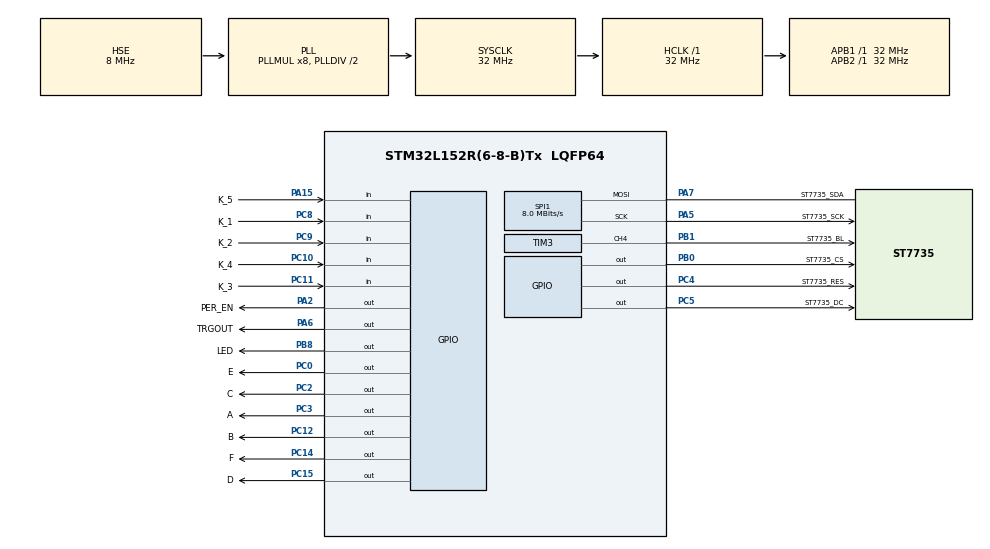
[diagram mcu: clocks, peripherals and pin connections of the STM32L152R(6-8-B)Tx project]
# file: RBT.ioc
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Dma.Request0=SPI1_TX
Dma.SPI1_TX.0.Direction=DMA_MEMORY_TO_PERIPH
Dma.SPI1_TX.0.Instance=DMA1_Channel3
Dma.SPI1_TX.0.MemDataAlignment=DMA_MDATAALIGN_BYTE
Dma.SPI1_TX.0.MemInc=DMA_MINC_ENABLE
Dma.SPI1_TX.0.Mode=DMA_NORMAL
Dma.SPI1_TX.0.PeriphDataAlignment=DMA_PDATAALIGN_BYTE
Dma.SPI1_TX.0.PeriphInc=DMA_PINC_DISABLE
Dma.SPI1_TX.0.Priority=DMA_PRIORITY_LOW
Mcu.Family=STM32L1
Mcu.Name=STM32L152R(6-8-B)Tx
Mcu.Package=LQFP64
NVIC.DMA1_Channel3_IRQn=true\:0\:0\:false\:false\:true\:false\:true
NVIC.PriorityGroup=NVIC_PRIORITYGROUP_4
NVIC.SPI1_IRQn=true\:5\:0\:true\:false\:true\:true\:true
PA13.Mode=Serial_Wire
PA13.Signal=SYS_JTMS-SWDIO
PA14.Mode=Serial_Wire
PA14.Signal=SYS_JTCK-SWCLK
PA15.GPIO_Label=K_5
PA15.GPIO_PuPd=GPIO_PULLUP
PA15.Signal=GPIO_Input
PA2.GPIO_Label=PER_EN
PA2.Signal=GPIO_Output
PA5.GPIO_Label=ST7735_SCK
PA5.Mode=Simplex_Bidirectional_Master
PA5.Signal=SPI1_SCK
PA6.GPIO_Label=TRGOUT
PA6.Signal=GPIO_Output
PA7.GPIO_Label=ST7735_SDA
PA7.Mode=Simplex_Bidirectional_Master
PA7.Signal=SPI1_MOSI
PB0.GPIO_Label=ST7735_CS
PB0.GPIO_Speed=GPIO_SPEED_FREQ_VERY_HIGH
PB0.Signal=GPIO_Output
PB1.GPIO_Label=ST7735_BL
PB1.Signal=S_TIM3_CH4
PB8.GPIO_Label=LED
PB8.Signal=GPIO_Output
PC0.GPIO_Label=E
PC0.Signal=GPIO_Output
PC10.GPIO_Label=K_4
PC10.GPIO_Mode=GPIO_MODE_INPUT
PC10.GPIO_PuPd=GPIO_PULLUP
PC10.Signal=GPIO_Input
PC11.GPIO_Label=K_3
PC11.GPIO_Mode=GPIO_MODE_INPUT
PC11.GPIO_PuPd=GPIO_PULLUP
PC11.Signal=GPIO_Input
PC12.GPIO_Label=B
PC12.Signal=GPIO_Output
PC14-OSC32_IN.GPIO_Label=F
PC14-OSC32_IN.Signal=GPIO_Output
PC15-OSC32_OUT.GPIO_Label=D
PC15-OSC32_OUT.Signal=GPIO_Output
PC2.GPIO_Label=C
PC2.Signal=GPIO_Output
PC3.GPIO_Label=A
PC3.Signal=GPIO_Output
PC4.GPIO_Label=ST7735_RES
PC4.GPIO_Speed=GPIO_SPEED_FREQ_VERY_HIGH
PC4.Signal=GPIO_Output
PC5.GPIO_Label=ST7735_DC
PC5.GPIO_Speed=GPIO_SPEED_FREQ_VERY_HIGH
PC5.Signal=GPIO_Output
PC8.GPIO_Label=K_1
PC8.GPIO_Mode=GPIO_MODE_INPUT
PC8.GPIO_PuPd=GPIO_PULLUP
PC8.Signal=GPIO_Input
PC9.GPIO_Label=K_2
PC9.GPIO_Mode=GPIO_MODE_INPUT
PC9.GPIO_PuPd=GPIO_PULLUP
PC9.Signal=GPIO_Input
PH0-OSC_IN.Mode=HSE-External-Oscillator
PH0-OSC_IN.Signal=RCC_OSC_IN
PH1-OSC_OUT.Mode=HSE-External-Oscillator
PH1-OSC_OUT.Signal=RCC_OSC_OUT
ProjectManager.HeapSize=0x200
ProjectManager.StackSize=0x400
ProjectManager.TargetToolchain=MDK-ARM V5.32
RCC.48MHZClocksFreq_Value=32000000
RCC.AHBFreq_Value=32000000
RCC.APB1Freq_Value=32000000
RCC.APB1TimFreq_Value=32000000
RCC.APB2Freq_Value=32000000
RCC.APB2TimFreq_Value=32000000
RCC.HCLKFreq_Value=32000000
RCC.HSE_VALUE=8000000
RCC.HSI_VALUE=16000000
RCC.LSE_VALUE=32768
RCC.MSI_VALUE=2097000
RCC.PLLMUL=RCC_PLL_MUL8
RCC.PLLSourceVirtual=RCC_PLLSOURCE_HSE
RCC.SYSCLKFreq_VALUE=32000000
RCC.SYSCLKSource=RCC_SYSCLKSOURCE_PLLCLK
RCC.VCOOutputFreq_Value=64000000
SH.S_TIM3_CH4.0=TIM3_CH4,PWM Generation4 CH4
SPI1.BaudRatePrescaler=SPI_BAUDRATEPRESCALER_4
SPI1.CLKPhase=SPI_PHASE_1EDGE
SPI1.CLKPolarity=SPI_POLARITY_LOW
SPI1.CalculateBaudRate=8.0 MBits/s
SPI1.Direction=SPI_DIRECTION_1LINE
SPI1.Mode=SPI_MODE_MASTER
SPI1.VirtualType=VM_MASTER
TIM3.Channel-PWM\ Generation4\ CH4=TIM_CHANNEL_4
TIM3.ClockDivision=TIM_CLOCKDIVISION_DIV4
TIM3.Period=10
TIM3.Prescaler=7999
VP_TIM3_VS_ClockSourceINT.Mode=Internal
board=custom

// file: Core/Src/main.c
/* USER CODE BEGIN Header */
/**
  ******************************************************************************
  * @file           : main.c
  * @brief          : Main program body
  ******************************************************************************
  * @attention
  *
  * Copyright (c) 2022 STMicroelectronics.
  * All rights reserved.
  *
  * This software is licensed under terms that can be found in the LICENSE file
  * in the root directory of this software component.
  * If no LICENSE file comes with this software, it is provided AS-IS.
  *
  ******************************************************************************
  */
/* USER CODE END Header */
#include "main.h"
#include "dma.h"
#include "spi.h"
#include "tim.h"
#include "gpio.h"
#include <stdlib.h>
/* USER CODE BEGIN Includes */
#include "st7735.h"
#include "st7735_test.h"
#include "config.h"
#include "string.h"
#include "stdio.h"
#include "stdbool.h"
#include "ctype.h"
/* USER CODE END Includes */

/* USER CODE BEGIN PTD */
typedef struct _Ball{
    uint8_t x;
    uint8_t y;
    int8_t x_dir;
    int8_t y_dir;
    uint8_t new_x;
    uint8_t new_y;
    uint8_t radius;
}Ball;

typedef struct _Player{
    uint8_t x;
    uint8_t y;
    uint8_t score;
}Player;

/* USER CODE END PTD */

/* USER CODE BEGIN PV */
// ��������� ��� ������ � �����������
Keypad_t keypad;
Ball ball;
Player player;
Player bot;

const uint8_t PADDLE_HEIGHT = 30; //Высота ракетки
const uint8_t MAX_SCORE = 8; // Победное число очков
bool GameIsRunning = true;

/* USER CODE END PV */

void SystemClock_Config(void);

/* USER CODE BEGIN PFP */
int random_int(int low, int high);
void draw_court();
void end_of_game(int);
/* USER CODE END PFP */

int main(void)
{

  /* MCU Configuration--------------------------------------------------------*/

  /* Reset of all peripherals, Initializes the Flash interface and the Systick. */
  HAL_Init();

  /* Configure the system clock */
  SystemClock_Config();

  /* Initialize all configured peripherals */
  MX_GPIO_Init();
  MX_DMA_Init();
  MX_SPI1_Init();
  MX_TIM3_Init();
  /* USER CODE BEGIN 2 */
  //Первичная инициализация структур
    ball.x = 0;
    ball.y = 0;
    ball.new_x = 0;
    ball.new_y = 0;
    ball.x_dir = 0;
    ball.y_dir = 0;
    ball.radius = 3;

    player.score = 0;
    player.x = 10;
    player.y = 64;

    bot.score = 0;
    bot.x = 150;
    bot.y = 64;

    HAL_GPIO_WritePin(PER_EN_GPIO_Port, PER_EN_Pin, GPIO_PIN_SET);

    ST7735_Init(Displ_Orientat_90);
    ST7735_SetBacklight('F');
    ST7735_FillScreen(ST7735_BLACK);

    ball.x = random_int(0,160);
    ball.y = random_int(0,128);
    ball.x_dir = 1;
    ball.y_dir = 1;

    uint8_t half_paddle = PADDLE_HEIGHT >> 1;
    uint8_t cycles = 0;

    bool ResetBall = false;
    bool up = false;
    bool down = false;
    srand(HAL_GetTick());

    HAL_GPIO_WritePin(F_GPIO_Port, F_Pin, GPIO_PIN_RESET);
  /* USER CODE END 2 */

  /* Infinite loop */
  /* USER CODE BEGIN WHILE */
  while (1)
  {
    up = !HAL_GPIO_ReadPin(K_4_GPIO_Port, K_4_Pin);
    down =  !HAL_GPIO_ReadPin(K_5_GPIO_Port, K_5_Pin);

    if(ResetBall){

        ST7735_FillCircle(ball.x, ball.y, ball.radius, ST7735_BLACK);
        ball.x = 80;
        ball.y = 64;

        do{
            ball.x_dir = random_int(-1,2);
        }while(ball.x_dir == 0);
         do{
            ball.y_dir = random_int(-1,2);
        }while(ball.y_dir == 0);

        ResetBall = false;
    }

    if(GameIsRunning){
        cycles++;
        ST7735_DrawWString(10, 10, "Player1: ",  Font12, 1, ST7735_WHITE, ST7735_BLACK);
        ST7735_DrawWChar(70, 10, (char)player.score + '0', Font12, 1, ST7735_WHITE, ST7735_BLACK);
        ST7735_DrawWString(90, 10, "Bot: ",  Font12, 1, ST7735_WHITE, ST7735_BLACK);
        ST7735_DrawWChar(150, 10, (char)bot.score + '0', Font12, 1, ST7735_WHITE, ST7735_BLACK);

        ball.new_x = ball.x + ball.x_dir;
        ball.new_y = ball.y + ball.y_dir;
        //Проверка на столкновение с вертиальной стеной
        if(ball.new_x == 0 ){
            bot.score++;
            if(bot.score == 8)
                end_of_game(1);
            ResetBall = true;
        }
        else if(ball.new_x == 160)
        {
            player.score++;
            if(player.score == 8)
                end_of_game(2);
            ResetBall = true;
        }

        //Проверка на столкновение с горизонтальной стеной
        if(ball.new_y == 0 || ball.new_y == 120){
            ball.y_dir = -ball.y_dir; //Меняем направление
            ball.new_y += 2*ball.y_dir; //Откатываемся назад
        }
        //Проверка на столкновение с ракеткой игрока
        if(ball.new_x == player.x && ball.new_y >= player.y - half_paddle && ball.new_y <= player.y + half_paddle)
        {
            ball.x_dir = -ball.x_dir; //Меняем направление
            ball.new_x += 2*ball.x_dir; //Откатываемся назад
        }
        //Проверка на столкновение с ракеткой бота
        if(ball.new_x == bot.x && ball.new_y >= bot.y - half_paddle && ball.new_y <= bot.y + half_paddle)
        {
            ball.x_dir = -ball.x_dir; //Меняем направление
            ball.new_x += 2*ball.x_dir; //Откатываемся назад
        }
        ST7735_FillCircle(ball.x, ball.y, ball.radius, ST7735_BLACK);
        ST7735_FillCircle(ball.new_x, ball.new_y, ball.radius, ST7735_RED);
        ball.x = ball.new_x;
        ball.y = ball.new_y;
        draw_court();

        //Ракетка игрока
        ST7735_DrawLine(player.x, player.y - half_paddle, player.x, player.y + half_paddle, ST7735_BLACK);
        if(down)
        {
            player.y++;
            up = false;
        }
        else if(up)
        {
            player.y--;
            down = false;
        }
        if(player.y - half_paddle < 1) player.y = 1 + half_paddle;
        if(player.y +  half_paddle > 120) player.y = 120 - half_paddle;
        ST7735_DrawLine(player.x, player.y - half_paddle, player.x, player.y + half_paddle, ST7735_GREEN);
        //Ракетка бота
        if (cycles > 1){ // Замедляем бота
        ST7735_DrawLine(bot.x, bot.y - half_paddle, bot.x, bot.y + half_paddle, ST7735_BLACK);
        if(bot.y > ball.y){
            bot.y--;
        }
        if(bot.y < ball.y){
            bot.y++;
        }
        if(bot.y - half_paddle < 1) bot.y = 1 + half_paddle;
        if(bot.y +  half_paddle > 120) bot.y = 120 - half_paddle;
        ST7735_DrawLine(bot.x, bot.y - half_paddle, bot.x, bot.y + half_paddle, ST7735_YELLOW);
        cycles = 0;
    }
    }

    /* USER CODE END WHILE */

  }
}

void SystemClock_Config(void)
{
  RCC_OscInitTypeDef RCC_OscInitStruct = {0};
  RCC_ClkInitTypeDef RCC_ClkInitStruct = {0};

  /** Configure the main internal regulator output voltage
  */
  __HAL_PWR_VOLTAGESCALING_CONFIG(PWR_REGULATOR_VOLTAGE_SCALE1);
  /** Initializes the RCC Oscillators according to the specified parameters
  * in the RCC_OscInitTypeDef structure.
  */
  RCC_OscInitStruct.OscillatorType = RCC_OSCILLATORTYPE_HSE;
  RCC_OscInitStruct.HSEState = RCC_HSE_ON;
  RCC_OscInitStruct.PLL.PLLState = RCC_PLL_ON;
  RCC_OscInitStruct.PLL.PLLSource = RCC_PLLSOURCE_HSE;
  RCC_OscInitStruct.PLL.PLLMUL = RCC_PLL_MUL8;
  RCC_OscInitStruct.PLL.PLLDIV = RCC_PLL_DIV2;
  if (HAL_RCC_OscConfig(&RCC_OscInitStruct) != HAL_OK)
  {
    Error_Handler();
  }
  /** Initializes the CPU, AHB and APB buses clocks
  */
  RCC_ClkInitStruct.ClockType = RCC_CLOCKTYPE_HCLK|RCC_CLOCKTYPE_SYSCLK
                              |RCC_CLOCKTYPE_PCLK1|RCC_CLOCKTYPE_PCLK2;
  RCC_ClkInitStruct.SYSCLKSource = RCC_SYSCLKSOURCE_PLLCLK;
  RCC_ClkInitStruct.AHBCLKDivider = RCC_SYSCLK_DIV1;
  RCC_ClkInitStruct.APB1CLKDivider = RCC_HCLK_DIV1;
  RCC_ClkInitStruct.APB2CLKDivider = RCC_HCLK_DIV1;

  if (HAL_RCC_ClockConfig(&RCC_ClkInitStruct, FLASH_LATENCY_1) != HAL_OK)
  {
    Error_Handler();
  }
}

/* USER CODE BEGIN 4 */
int random_int(int low, int high)
{
   return rand() % ((high + 1) - low) + low;
}

void draw_court(){
    ST7735_DrawLine(0, 0, 159, 0, ST7735_WHITE);
    ST7735_DrawLine(0, 0, 0, 120, ST7735_WHITE);
    ST7735_DrawLine(0, 120, 159, 120, ST7735_WHITE);
    ST7735_DrawLine(159, 120, 159, 0, ST7735_WHITE);
    ST7735_DrawLine(80, 0, 80, 120, ST7735_WHITE);
}

void end_of_game(int player){
   ST7735_FillScreen(ST7735_BLACK);
   while(1){

   ST7735_DrawLine(0, 0, 159, 0, ST7735_WHITE);
   ST7735_DrawLine(0, 0, 0, 120, ST7735_WHITE);
   ST7735_DrawLine(0, 120, 159, 120, ST7735_WHITE);
   ST7735_DrawLine(159, 120, 159, 0, ST7735_WHITE);
   if(player == 1){
    ST7735_DrawWString(35, 50, "Bot Win",  Font20, 1, ST7735_RED, ST7735_BLACK);
   }
   if(player == 2){
    ST7735_DrawWString(35, 50, "You Win",  Font20, 1, ST7735_GREEN, ST7735_BLACK);
   }
   }
   GameIsRunning = false;

}
/* USER CODE END 4 */

void Error_Handler(void)
{
  __disable_irq();
  while (1)
  {
  }
}
